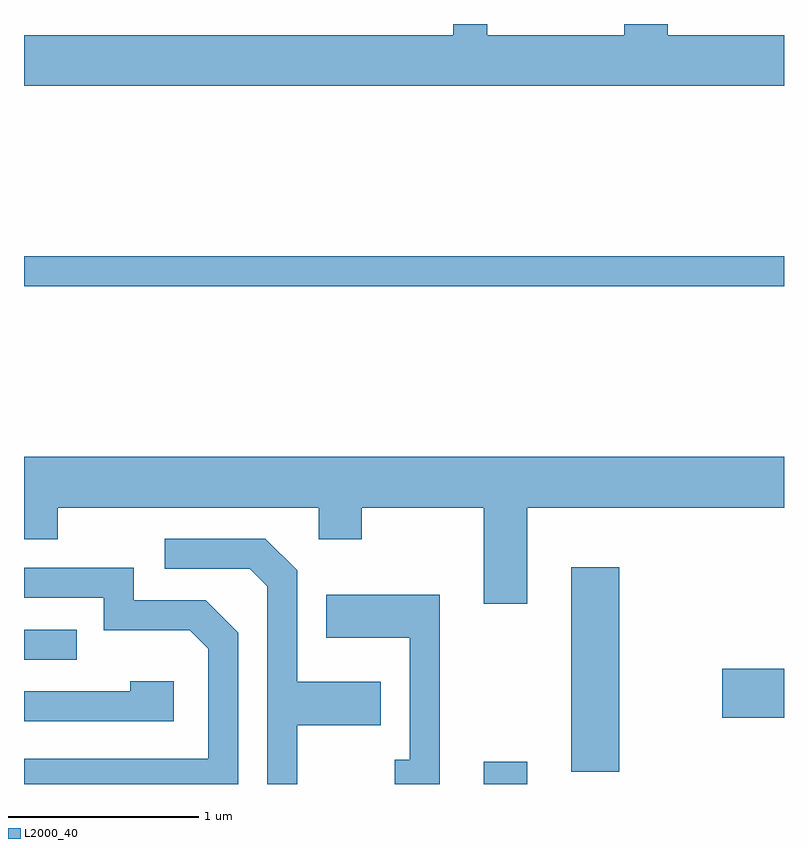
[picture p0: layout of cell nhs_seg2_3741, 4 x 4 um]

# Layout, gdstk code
import gdstk
lib = gdstk.Library(unit=1e-6, precision=1e-09)
def R(c, l, rs):  # rectangles x0, y0, x1, y1
    for r in rs: c.add(gdstk.rectangle(r[:2], r[2:], *l))
def P(c, l, *ps):  # polygons
    for p in ps: c.add(gdstk.Polygon(p, *l))
L2000_40 = (2000, 40)

nhs_seg2_3741 = lib.new_cell('nhs_seg2_3741')
R(nhs_seg2_3741, L2000_40, [(298.031,995.802,298.259,995.919), (298.491,995.866,298.744,996.944), (299.286,996.151,299.611,996.409), (295.611,996.456,295.888,996.614), (295.611,998.421,299.611,998.579)])
P(nhs_seg2_3741, L2000_40, [(299.611,999.744),(298.999,999.744),(298.999,999.802),(298.771,999.802),(298.771,999.744),(298.049,999.744),(298.049,999.802),(297.871,999.802),(297.871,999.744),(295.611,999.744),(295.611,999.476),(299.611,999.476)],
  [(298.259,997.256),(299.611,997.256),(299.611,997.524),(295.611,997.524),(295.611,997.091),(295.789,997.091),(295.789,997.256),(297.161,997.256),(297.161,997.091),(297.389,997.091),(297.389,997.256),(298.031,997.256),(298.031,996.751),(298.259,996.751)],
  [(297.049,996.111),(297.489,996.111),(297.489,996.339),(297.049,996.339),(297.049,996.927),(296.882,997.094),(296.353,997.094),(296.353,996.936),(296.799,996.936),(296.891,996.844),(296.891,995.802),(297.049,995.802)],
  [(296.739,996.597),(296.567,996.769),(296.189,996.769),(296.189,996.939),(295.611,996.939),(295.611,996.781),(296.031,996.781),(296.031,996.611),(296.484,996.611),(296.581,996.514),(296.581,995.934),(295.611,995.934),(295.611,995.802),(296.739,995.802)],
  [(297.799,996.799),(297.201,996.799),(297.201,996.571),(297.641,996.571),(297.641,995.929),(297.563,995.929),(297.563,995.802),(297.799,995.802)],
  [(296.399,996.344),(296.171,996.344),(296.171,996.289),(295.611,996.289),(295.611,996.131),(296.399,996.131)])

lib.write_gds('nhs_seg2_3741.gds')
